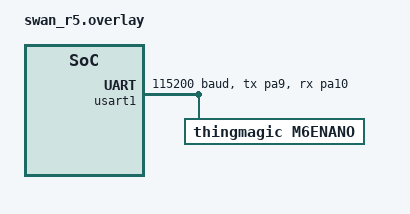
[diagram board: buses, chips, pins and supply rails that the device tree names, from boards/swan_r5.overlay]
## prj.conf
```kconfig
CONFIG_ZTEST=y
CONFIG_ZTEST_NEW_API=y

# Enable m6e nano device driver
CONFIG_UART_INTERRUPT_DRIVEN=y
CONFIG_SERIAL=y
CONFIG_M6E_NANO=y

# Logging
CONFIG_LOG=y
```

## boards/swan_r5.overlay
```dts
&usart1 {
    status = "okay";
    current-speed = <115200>;
    tx-rx-swap;
    pinctrl-names = "default";
    pinctrl-0 = <&usart1_tx_pa9 &usart1_rx_pa10>;
    m6enano {
        compatible = "thingmagic,m6enano";
    };
};
```

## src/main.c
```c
#include <zephyr/kernel.h>
#include <zephyr/drivers/uart.h>
#include <stdio.h>
#include <string.h>

#include <../../drivers/m6e-nano/m6e_nano.h>

#include <zephyr/ztest.h>

#include <zephyr/logging/log.h>
LOG_MODULE_REGISTER(m6enano_tests);

ZTEST_SUITE(m6enano_tests, NULL, NULL, NULL, NULL, NULL);

/**
 * @brief Test encoding of sensor data
 *
 * Tests the encoding of single and multiple sensor data packages
 *
 */
ZTEST(m6enano_tests, test_driver)
{
	const struct device *dev = DEVICE_DT_GET_ONE(thingmagic_m6enano);

	m6e_nano_set_baud(dev, 115200);

	zassert_equal(1, 1);
}
```
